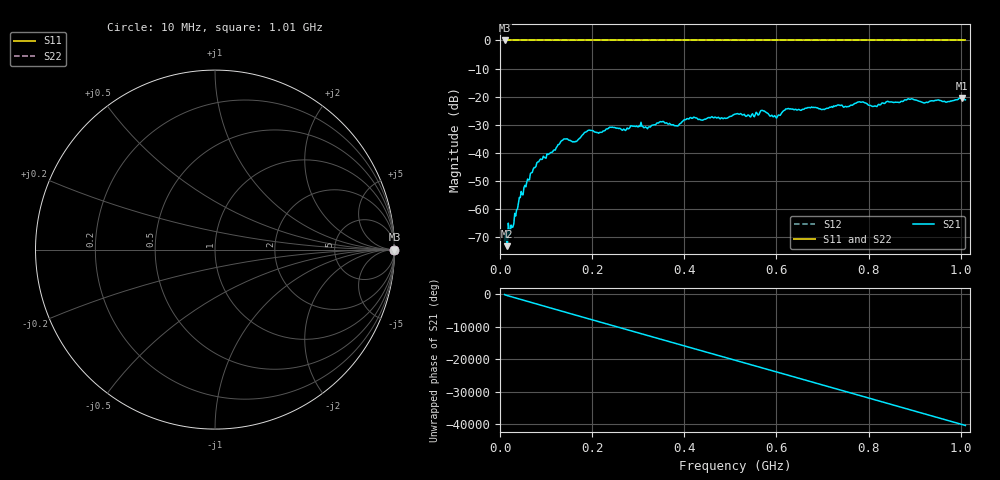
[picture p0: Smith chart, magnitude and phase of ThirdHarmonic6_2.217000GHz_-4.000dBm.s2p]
! 8/17/2025 2:24:19 AM
! C:\ANRITSUVNA\TEMP\TEMP.S2P
! CHANNEL.1
! TR.MEASUREMENT
! RAW.DATA
! RF.CORRECTION.OFF
! AVERAGING.OFF
! IF.BANDWIDTH: 5KHZ
! SWEEPTYPE:  FREQ.SWEEP(Linear)
! Reference Plane Port Info
! PORT:  PORT1  PORT2
! DISTANCE:  0  m  0  m
! TIME:  0  s  0  s
! PHASE.OFFSET:  0  deg.  0  deg.
! LOSS:  0  dB  0  dB
! REF.LOSS:  0  dB  0  dB
! REF.FREQ:  0  Hz  0  Hz
! Power Info
! POWER:  -20  dBm  -20  dBm
! EFF.POWER:  -20  dBm  -20  dBm
! SOURCE.ATTEN:  0  dB  0  dB
! TEST.ATTEN:  0  dB  0  dB
# GHZ S RI R 50.0
! FREQ.GHZ  S11RE  S11IM  S21RE  S21IM  S12RE  S12IM  S22RE  S22IM
!; PortSelection: Port_12
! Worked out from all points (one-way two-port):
!   501 points, 10 MHz to 1.01 GHz, reference 50 ohm
!   highest |S21| = -20.51 dB at 1.002 GHz (marker M1); lowest = -73.3 dB at 16 MHz (marker M2)
!   lowest |S11| = 0.0 dB at 10 MHz (marker M3)
!   |S11| at or under -10 dB: nowhere
!   |S22| runs from 0.0 to 0.0 dB; largest |S21 - S12| = 1.1
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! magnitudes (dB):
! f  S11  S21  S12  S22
! 10 MHz  0.0  -71.3  0.0  0.0
! 16 MHz  0.0  -73.3  0.0  0.0
! 26 MHz  0.0  -66.6  0.0  0.0
! 44 MHz  0.0  -56.0  0.0  0.0
! 84 MHz  0.0  -43.3  0.0  0.0
! 136 MHz  0.0  -35.5  0.0  0.0
! 162 MHz  0.0  -36.2  0.0  0.0
! 178 MHz  0.0  -33.8  0.0  0.0
! 194 MHz  0.0  -31.9  0.0  0.0
! 322 MHz  0.0  -30.9  0.0  0.0
! 344 MHz  0.0  -29.4  0.0  0.0
! 382 MHz  0.0  -30.4  0.0  0.0
! 410 MHz  0.0  -28.0  0.0  0.0
! 510 MHz  0.0  -26.3  0.0  0.0
! 548 MHz  0.0  -26.1  0.0  0.0
! 570 MHz  0.0  -25.0  0.0  0.0
! 598 MHz  0.0  -27.2  0.0  0.0
! 624 MHz  0.0  -24.3  0.0  0.0
! 678 MHz  0.0  -23.9  0.0  0.0
! 844 MHz  0.0  -21.9  0.0  0.0
! 1.002 GHz  0.0  -20.5  0.0  0.0
! 1.01 GHz  0.0  -21.2  0.0  0.0
